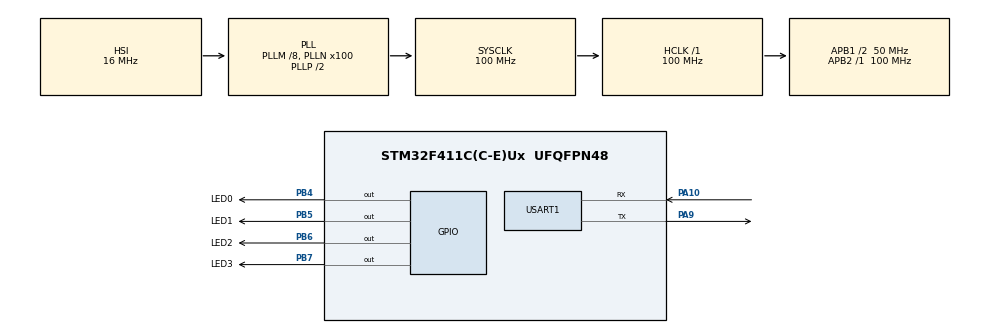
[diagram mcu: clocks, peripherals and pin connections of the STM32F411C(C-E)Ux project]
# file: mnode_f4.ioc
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Mcu.Family=STM32F4
Mcu.Name=STM32F411C(C-E)Ux
Mcu.Package=UFQFPN48
NVIC.PriorityGroup=NVIC_PRIORITYGROUP_4
PA10.Mode=Asynchronous
PA10.Signal=USART1_RX
PA13.Mode=Serial_Wire
PA13.Signal=SYS_JTMS-SWDIO
PA14.Mode=Serial_Wire
PA14.Signal=SYS_JTCK-SWCLK
PA9.Mode=Asynchronous
PA9.Signal=USART1_TX
PB4.GPIO_Label=LED0
PB4.Signal=GPIO_Output
PB5.GPIO_Label=LED1
PB5.Signal=GPIO_Output
PB6.GPIO_Label=LED2
PB6.Signal=GPIO_Output
PB7.GPIO_Label=LED3
PB7.Signal=GPIO_Output
PC14-OSC32_IN.Mode=LSE-External-Oscillator
PC14-OSC32_IN.Signal=RCC_OSC32_IN
PC15-OSC32_OUT.Mode=LSE-External-Oscillator
PC15-OSC32_OUT.Signal=RCC_OSC32_OUT
PH0\ -\ OSC_IN.Mode=HSE-External-Oscillator
PH0\ -\ OSC_IN.Signal=RCC_OSC_IN
PH1\ -\ OSC_OUT.Mode=HSE-External-Oscillator
PH1\ -\ OSC_OUT.Signal=RCC_OSC_OUT
ProjectManager.HeapSize=0x800
ProjectManager.StackSize=0x800
ProjectManager.TargetToolchain=MDK-ARM V5.32
RCC.48MHZClocksFreq_Value=50000000
RCC.AHBFreq_Value=100000000
RCC.APB1CLKDivider=RCC_HCLK_DIV2
RCC.APB1Freq_Value=50000000
RCC.APB1TimFreq_Value=100000000
RCC.APB2Freq_Value=100000000
RCC.APB2TimFreq_Value=100000000
RCC.CortexFreq_Value=100000000
RCC.HCLKFreq_Value=100000000
RCC.HSE_VALUE=8000000
RCC.HSI_VALUE=16000000
RCC.PLLM=8
RCC.PLLN=100
RCC.SYSCLKFreq_VALUE=100000000
RCC.SYSCLKSource=RCC_SYSCLKSOURCE_PLLCLK
RCC.VCOOutputFreq_Value=200000000
STMicroelectronics.X-CUBE-AI.7.3.0.ActivationBufferSizeList=3860
STMicroelectronics.X-CUBE-AI.7.3.0.ActivationBuffers=pool0
STMicroelectronics.X-CUBE-AI.7.3.0.ActivationNames=pool0
STMicroelectronics.X-CUBE-AI.7.3.0.ActivationSizes=AI_NETWORK_DATA_ACTIVATION_1_SIZE
STMicroelectronics.X-CUBE-AI.7.3.0.HeapSize=0x800
STMicroelectronics.X-CUBE-AI.7.3.0.InternalRamActivationBufferMaxSize=AI_NETWORK_DATA_ACTIVATIONS_SIZE
STMicroelectronics.X-CUBE-AI.7.3.0.LatestDirectoryUsed-a5cb73194434ad08013cf3d9be3d6468565f29b43c8bd1819d6f2bc1915f625c=D\:\\4\u5E74\u8BA1\u5212\\e_\u6BD5\u4E1A\u8BBE\u8BA1\\merci_project\\Net\\cnn_server
STMicroelectronics.X-CUBE-AI.7.3.0.MaximumNumberOfInputLayer=1
STMicroelectronics.X-CUBE-AI.7.3.0.MaximumNumberOfOutputLayer=1
STMicroelectronics.X-CUBE-AI.7.3.0.MaximumSizeOfInputLayer=1
STMicroelectronics.X-CUBE-AI.7.3.0.MaximumSizeOfOutputLayer=1
STMicroelectronics.X-CUBE-AI.7.3.0.ModelActualCompression-a5cb73194434ad08013cf3d9be3d6468565f29b43c8bd1819d6f2bc1915f625c=1.5333333
STMicroelectronics.X-CUBE-AI.7.3.0.ModelCompression-a5cb73194434ad08013cf3d9be3d6468565f29b43c8bd1819d6f2bc1915f625c=Medium
STMicroelectronics.X-CUBE-AI.7.3.0.ModelFlashOccupation-a5cb73194434ad08013cf3d9be3d6468565f29b43c8bd1819d6f2bc1915f625c=44080
STMicroelectronics.X-CUBE-AI.7.3.0.ModelHashList=a5cb73194434ad08013cf3d9be3d6468565f29b43c8bd1819d6f2bc1915f625c
STMicroelectronics.X-CUBE-AI.7.3.0.ModelKind-a5cb73194434ad08013cf3d9be3d6468565f29b43c8bd1819d6f2bc1915f625c=KERAS
STMicroelectronics.X-CUBE-AI.7.3.0.ModelMacc-a5cb73194434ad08013cf3d9be3d6468565f29b43c8bd1819d6f2bc1915f625c=24738
STMicroelectronics.X-CUBE-AI.7.3.0.ModelName-a5cb73194434ad08013cf3d9be3d6468565f29b43c8bd1819d6f2bc1915f625c=network
STMicroelectronics.X-CUBE-AI.7.3.0.ModelNameList=network
STMicroelectronics.X-CUBE-AI.7.3.0.ModelRamOccupation-a5cb73194434ad08013cf3d9be3d6468565f29b43c8bd1819d6f2bc1915f625c=3860
STMicroelectronics.X-CUBE-AI.7.3.0.ModelStructureFile-a5cb73194434ad08013cf3d9be3d6468565f29b43c8bd1819d6f2bc1915f625c=D\:\\4\u5E74\u8BA1\u5212\\e_\u6BD5\u4E1A\u8BBE\u8BA1\\merci_project\\Net\\cnn_server\\stm32.h5
STMicroelectronics.X-CUBE-AI.7.3.0.ModelType-a5cb73194434ad08013cf3d9be3d6468565f29b43c8bd1819d6f2bc1915f625c=Saved model
STMicroelectronics.X-CUBE-AI.7.3.0.ReadyForCodeGeneration=true
STMicroelectronics.X-CUBE-AI.7.3.0.StackSize=0x800
STMicroelectronics.X-CUBE-AI.7.3.0.WorkingBufferStartAddrList=0xFFFFFFFF
STMicroelectronics.X-CUBE-AI.7.3.0.XAaCUBEAaAICcArtificialOoIntelligenceJjCore=true
STMicroelectronics.X-CUBE-AI.7.3.0.copyWeightToRam=false
STMicroelectronics.X-CUBE-AI.7.3.0.copyWeightToRam-a5cb73194434ad08013cf3d9be3d6468565f29b43c8bd1819d6f2bc1915f625c=false
STMicroelectronics.X-CUBE-AI.7.3.0.customLayerConfigEnabled=false
STMicroelectronics.X-CUBE-AI.7.3.0.customLayerConfigEnabled-a5cb73194434ad08013cf3d9be3d6468565f29b43c8bd1819d6f2bc1915f625c=false
STMicroelectronics.X-CUBE-AI.7.3.0.optimization=time
STMicroelectronics.X-CUBE-AI.7.3.0.optimization-a5cb73194434ad08013cf3d9be3d6468565f29b43c8bd1819d6f2bc1915f625c=time
STMicroelectronics.X-CUBE-AI.7.3.0.useInputAllocation=true
STMicroelectronics.X-CUBE-AI.7.3.0.useInputAllocation-a5cb73194434ad08013cf3d9be3d6468565f29b43c8bd1819d6f2bc1915f625c=true
STMicroelectronics.X-CUBE-AI.7.3.0.useOutputAllocation=true
STMicroelectronics.X-CUBE-AI.7.3.0.useOutputAllocation-a5cb73194434ad08013cf3d9be3d6468565f29b43c8bd1819d6f2bc1915f625c=true
USART1.VirtualMode=VM_ASYNC
VP_CRC_VS_CRC.Mode=CRC_Activate
VP_STMicroelectronics.X-CUBE-AI_VS_ArtificialOoIntelligenceJjXAaCUBEAaAI_7.3.0.Mode=ArtificialOoIntelligenceJjXAaCUBEAaAI
board=custom

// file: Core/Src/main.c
/* USER CODE BEGIN Header */
/**
 ******************************************************************************
 * @file           : main.c
 * @brief          : Main program body
 ******************************************************************************
 * @attention
 *
 * Copyright (c) 2023 STMicroelectronics.
 * All rights reserved.
 *
 * This software is licensed under terms that can be found in the LICENSE file
 * in the root directory of this software component.
 * If no LICENSE file comes with this software, it is provided AS-IS.
 *
 ******************************************************************************
 */
/* USER CODE END Header */
#include "main.h"
#include "crc.h"
#include "usart.h"
#include "gpio.h"

/* USER CODE BEGIN Includes */
#include "mlx90393.h"
#include "tickus.h"
#include "ai_app.h"
#include <stdio.h>
#include <math.h>
/* USER CODE END Includes */

/* USER CODE BEGIN PTD */
typedef struct{
    uint8_t header[4];
    float_t flux[12];
    float_t crc;
    uint32_t time;
    float_t x;
    float_t y;
    float_t F;
    uint32_t status;
}frameStructure;
/* USER CODE END PTD */

/* USER CODE BEGIN PD */
#define AI_EABLE 1
#define AI_DEBUG 0
#define OUTPUT_FORMAT_ASCII 0
/* USER CODE END PD */

/* USER CODE BEGIN PV */

/**
 * @brief configuration data of 4 mlx90393 chips, including I2C address(A0|A1), drdy PIN and trig PIN
 *
 */
const Mlx90393ConfTypeDef mag_conf[4] =
{
    [0] = {
        .A0 = 0,
        .A1 = 0,
        .drdy_port = GPIOA,
        .drdy_pin = GPIO_PIN_2,
        .trig_port = GPIOA,
        .trig_pin = GPIO_PIN_6},
    [1] = {
        .A0 = 1,
        .A1 = 0,
        .drdy_port = GPIOA,
        .drdy_pin = GPIO_PIN_0,
        .trig_port = GPIOA,
        .trig_pin = GPIO_PIN_4},
    [2] = {
        .A0 = 0,
        .A1 = 1,
        .drdy_port = GPIOA,
        .drdy_pin = GPIO_PIN_3,
        .trig_port = GPIOA,
        .trig_pin = GPIO_PIN_7},
    [3] = {
        .A0 = 1,
        .A1 = 1,
        .drdy_port = GPIOA,
        .drdy_pin = GPIO_PIN_1,
        .trig_port = GPIOA,
        .trig_pin = GPIO_PIN_5}
};

/**
 * @brief temperature and magnitude data after converting from raw frame
 *
 */
static float dataConv[4][4];
static float dataBias[4][4];

/**
 * @brief handler of 4 mlx90393 chips
 */
static Mlx90393TypeDef hmag[4];

/* USER CODE END PV */

void SystemClock_Config(void);
/* USER CODE BEGIN PFP */
void get_dataBias(float dataBias[4][4]);
/* USER CODE END PFP */

/* USER CODE BEGIN 0 */

int main(void)
{

  /* MCU Configuration--------------------------------------------------------*/

  /* Reset of all peripherals, Initializes the Flash interface and the Systick. */
  HAL_Init();

  /* Configure the system clock */
  SystemClock_Config();

  /* Initialize all configured peripherals */
  MX_GPIO_Init();
  MX_USART1_UART_Init();
  MX_CRC_Init();
  /* USER CODE BEGIN 2 */
    /* scan I2C devices on the bus(0-127) */
    // I2C_SCAN(); //addr: 14 15 16 17

	#if AI_ENABLE
	ai_Init();

	/* brief information */
    printf("\r\nmlx90393_f4_v1.0 with AI on board\r\n");
    printf("auther:ultrlyj, build:%s,%s\r\n", __DATE__, __TIME__);
	#else
	printf("\r\nmlx90393_f4_v1.0 without AI on board\r\n");
    printf("auther:ultrlyj, build:%s,%s\r\n", __DATE__, __TIME__);
	#endif

    /* initialize the I2C bus and 4 mlx90393 chips */
    I2C_Init();

    for (uint8_t i = 0; i < 4; i++)
		if(!Peri_Mlx90393_Init(&hmag[i], &mag_conf[i]))
		{
			printf("ok ");
		}
        else
		{
			printf("failed");
		}
	printf("\r\n");

    static frameStructure frame;
    frame.header[0] = '$';
    frame.header[1] = 'M';
    frame.header[2] = 'A';
    frame.header[3] = 'G';

  /* USER CODE END 2 */

  /* Infinite loop */
  /* USER CODE BEGIN WHILE */
#if AI_EABLE
	#if AI_DEBUG
    extern const float test_in[100][12];
    extern const float y_pc[100][2];
	float test_out[2]={0,0};
	for(int i=0;i<100;i++)
	{
		uint32_t time_start = getCurrentMicros();
		ai_Run((float*)(test_in[i]),test_out);
		uint32_t time_end = getCurrentMicros();
		float error = sqrt((y_pc[i][0]-test_out[0])*(y_pc[i][0]-test_out[0]) + (y_pc[i][1]-test_out[1])*(y_pc[i][1]-test_out[1]));
		printf("%f,%f,%f,%d\r\n",test_out[0],test_out[1],error,time_end-time_start);
       HAL_GPIO_TogglePin(LED0_GPIO_Port, LED0_Pin | LED1_Pin | LED2_Pin | LED3_Pin);
	}
	#endif
#endif
	/* get flux density bias */
	get_dataBias(dataBias);

    while (1)
    {
        uint32_t time_tick = HAL_GetTick();
        /* send tirg signal at the same time*/
        for (uint8_t i = 0; i < 4; i++)
            Peri_Mlx90393_Trig(&hmag[i]);

        /* wait until 4 sensor finish their measurement */
        for (uint8_t i = 0; i < 4; i++)
        {
            if (!Peri_Mlx90393_waitReady(&hmag[i]))
                Peri_Mlx90393_readData(&hmag[i], dataConv[i]);
        }

        /* get crc check value */
		float crc = 0.0f;
        for (uint8_t i = 0; i < 4; i++)
        {
            for (uint8_t j = 1; j < 4; j++)
            {
				float x = dataConv[i][j]-dataBias[i][j];
				frame.flux[i*3+j-1] = x;
				crc+=x;
            }
        }
        /* CNN model predict */
		#if AI_EABLE
        float predict[2];
        ai_Run((float*)(frame.flux), predict);
		frame.x = predict[0];
        frame.y = predict[1];
		#endif
        frame.crc = crc;
        frame.time = time_tick;

        frame.status = 0;

        #if OUTPUT_FORMAT_ASCII
        /* support IPC: mevis, serialplot, mevis calibrate unity */
        for (uint8_t i = 0; i < 12; i++)
            printf("%.2f,",frame.flux[i]);
        printf("%.2f\n", frame.crc);
        #else
        HAL_UART_Transmit(&huart1, (uint8_t *)&frame, 76, 0xffff);
        while (__HAL_UART_GET_FLAG(&huart1, UART_FLAG_TC) == RESET);
        #endif
		HAL_GPIO_TogglePin(LED0_GPIO_Port, LED0_Pin | LED1_Pin | LED2_Pin | LED3_Pin);
    /* USER CODE END WHILE */

    }
}

void get_dataBias(float dataBias[4][4])
{
	const uint16_t times = 200;
	for (uint8_t i = 0; i < 4; i++)
		for (uint8_t j = 0; j < 4; j++)
		dataBias[i][j] = 0.0f;
	for (uint16_t t = 0; t < times; t++)
	{
		/* send tirg signal at the same time*/
		for (uint8_t i = 0; i < 4; i++)
			Peri_Mlx90393_Trig(&hmag[i]);

		/* wait until 4 sensor finish their measurement */
		for (uint8_t i = 0; i < 4; i++)
		{
			if (!Peri_Mlx90393_waitReady(&hmag[i]))
				Peri_Mlx90393_readData(&hmag[i], dataConv[i]);
		}

		/* output data(ascii data only for test) */
		float crc = 0.0f;
		for (uint8_t i = 0; i < 4; i++)
		{
			for (uint8_t j = 1; j < 4; j++)
			{
				float x = dataConv[i][j];
				x=(int)100*x+0.5;
				x=x/100;
				dataBias[i][j] += x;
			}
		}
	}
	for (uint8_t i = 0; i < 4; i++)
		for (uint8_t j = 0; j < 4; j++)
		dataBias[i][j] /= times;

}
void SystemClock_Config(void)
{
  RCC_OscInitTypeDef RCC_OscInitStruct = {0};
  RCC_ClkInitTypeDef RCC_ClkInitStruct = {0};

  /** Configure the main internal regulator output voltage
  */
  __HAL_RCC_PWR_CLK_ENABLE();
  __HAL_PWR_VOLTAGESCALING_CONFIG(PWR_REGULATOR_VOLTAGE_SCALE1);

  /** Initializes the RCC Oscillators according to the specified parameters
  * in the RCC_OscInitTypeDef structure.
  */
  RCC_OscInitStruct.OscillatorType = RCC_OSCILLATORTYPE_HSI;
  RCC_OscInitStruct.HSIState = RCC_HSI_ON;
  RCC_OscInitStruct.HSICalibrationValue = RCC_HSICALIBRATION_DEFAULT;
  RCC_OscInitStruct.PLL.PLLState = RCC_PLL_ON;
  RCC_OscInitStruct.PLL.PLLSource = RCC_PLLSOURCE_HSI;
  RCC_OscInitStruct.PLL.PLLM = 8;
  RCC_OscInitStruct.PLL.PLLN = 100;
  RCC_OscInitStruct.PLL.PLLP = RCC_PLLP_DIV2;
  RCC_OscInitStruct.PLL.PLLQ = 4;
  if (HAL_RCC_OscConfig(&RCC_OscInitStruct) != HAL_OK)
  {
    Error_Handler();
  }

  /** Initializes the CPU, AHB and APB buses clocks
  */
  RCC_ClkInitStruct.ClockType = RCC_CLOCKTYPE_HCLK|RCC_CLOCKTYPE_SYSCLK
                              |RCC_CLOCKTYPE_PCLK1|RCC_CLOCKTYPE_PCLK2;
  RCC_ClkInitStruct.SYSCLKSource = RCC_SYSCLKSOURCE_PLLCLK;
  RCC_ClkInitStruct.AHBCLKDivider = RCC_SYSCLK_DIV1;
  RCC_ClkInitStruct.APB1CLKDivider = RCC_HCLK_DIV2;
  RCC_ClkInitStruct.APB2CLKDivider = RCC_HCLK_DIV1;

  if (HAL_RCC_ClockConfig(&RCC_ClkInitStruct, FLASH_LATENCY_3) != HAL_OK)
  {
    Error_Handler();
  }
}

void Error_Handler(void)
{
    __disable_irq();
    while (1)
    {
    }
}
